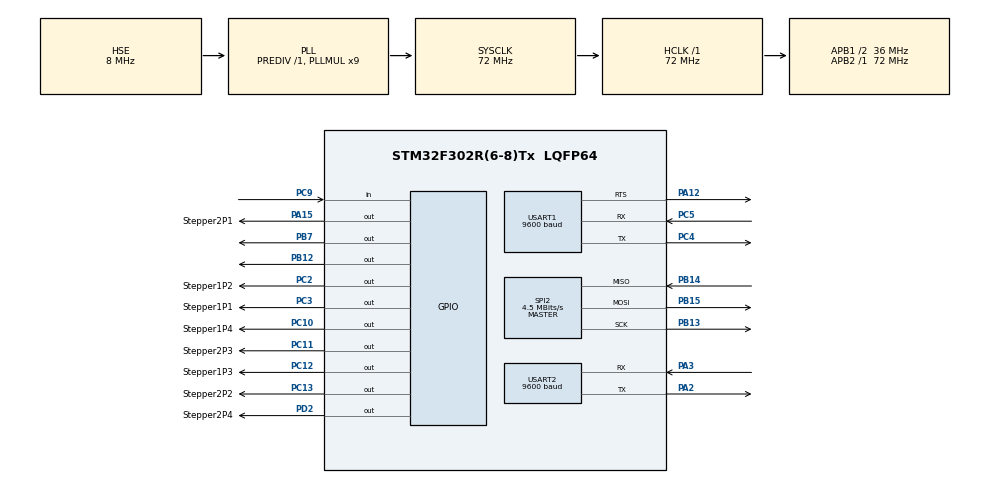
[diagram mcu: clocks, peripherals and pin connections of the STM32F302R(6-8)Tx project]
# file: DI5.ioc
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Mcu.Family=STM32F3
Mcu.Name=STM32F302R(6-8)Tx
Mcu.Package=LQFP64
NVIC.PriorityGroup=NVIC_PRIORITYGROUP_4
NVIC.TIM6_DAC_IRQn=true\:0\:0\:false\:false\:true\:true\:true
NVIC.USART1_IRQn=true\:0\:0\:false\:false\:true\:true\:true
PA12.Mode=RTS_Only
PA12.Signal=USART1_RTS
PA15.GPIO_Label=Stepper2P1
PA15.Signal=GPIO_Output
PA2.Mode=Asynchronous
PA2.Signal=USART2_TX
PA3.Mode=Asynchronous
PA3.Signal=USART2_RX
PB12.Signal=GPIO_Output
PB13.Mode=Full_Duplex_Master
PB13.Signal=SPI2_SCK
PB14.Mode=Full_Duplex_Master
PB14.Signal=SPI2_MISO
PB15.Mode=Full_Duplex_Master
PB15.Signal=SPI2_MOSI
PB7.Signal=GPIO_Output
PC10.GPIO_Label=Stepper1P4
PC10.Signal=GPIO_Output
PC11.GPIO_Label=Stepper2P3
PC11.Signal=GPIO_Output
PC12.GPIO_Label=Stepper1P3
PC12.Signal=GPIO_Output
PC13.GPIO_Label=Stepper2P2
PC13.Signal=GPIO_Output
PC2.GPIO_Label=Stepper1P2
PC2.Signal=GPIO_Output
PC3.GPIO_Label=Stepper1P1
PC3.Signal=GPIO_Output
PC4.Mode=Asynchronous
PC4.Signal=USART1_TX
PC5.Mode=Asynchronous
PC5.Signal=USART1_RX
PC9.Signal=GPIO_Input
PD2.GPIO_Label=Stepper2P4
PD2.Signal=GPIO_Output
PF0-OSC_IN.Mode=HSE-External-Oscillator
PF0-OSC_IN.Signal=RCC_OSC_IN
PF1-OSC_OUT.Mode=HSE-External-Oscillator
PF1-OSC_OUT.Signal=RCC_OSC_OUT
ProjectManager.HeapSize=0x200
ProjectManager.StackSize=0x400
ProjectManager.TargetToolchain=STM32CubeIDE
RCC.AHBFreq_Value=72000000
RCC.APB1CLKDivider=RCC_HCLK_DIV2
RCC.APB1Freq_Value=36000000
RCC.APB1TimFreq_Value=72000000
RCC.APB2Freq_Value=72000000
RCC.APB2TimFreq_Value=72000000
RCC.CortexFreq_Value=72000000
RCC.HCLKFreq_Value=72000000
RCC.HSE_VALUE=8000000
RCC.HSI_VALUE=8000000
RCC.LSE_VALUE=32768
RCC.PLLMUL=RCC_PLL_MUL9
RCC.PLLSourceVirtual=RCC_PLLSOURCE_HSE
RCC.SYSCLKFreq_VALUE=72000000
RCC.SYSCLKSourceVirtual=RCC_SYSCLKSOURCE_PLLCLK
RCC.USBFreq_Value=72000000
SPI2.BaudRatePrescaler=SPI_BAUDRATEPRESCALER_8
SPI2.CLKPhase=SPI_PHASE_2EDGE
SPI2.CLKPolarity=SPI_POLARITY_HIGH
SPI2.CalculateBaudRate=4.5 MBits/s
SPI2.DataSize=SPI_DATASIZE_8BIT
SPI2.Direction=SPI_DIRECTION_2LINES
SPI2.Mode=SPI_MODE_MASTER
SPI2.VirtualType=VM_MASTER
TIM6.Period=28124
TIM6.Prescaler=64
USART1.BaudRate=9600
USART1.VirtualMode-Asynchronous=VM_ASYNC
USART2.BaudRate=9600
USART2.VirtualMode-Asynchronous=VM_ASYNC
VP_TIM6_VS_ClockSourceINT.Mode=Enable_Timer
board=custom

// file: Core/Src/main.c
/* USER CODE BEGIN Header */
/**
  ******************************************************************************
  * @file           : main.c
  * @brief          : Main program body
  ******************************************************************************
  * @attention
  *
  * <h2><center>&copy; Copyright (c) 2021 STMicroelectronics.
  * All rights reserved.</center></h2>
  *
  * This software component is licensed by ST under BSD 3-Clause license,
  * the "License"; You may not use this file except in compliance with the
  * License. You may obtain a copy of the License at:
  *                        opensource.org/licenses/BSD-3-Clause
  *
  ******************************************************************************
  */
/* USER CODE END Header */
#include "main.h"

/* USER CODE BEGIN Includes */
#include <string.h>
#include <stdio.h>
#include <stdlib.h>

/* USER CODE END Includes */

/* USER CODE BEGIN PD */
char UART_RX_buffer[64] = {'\0'};
char UART_TX_buffer[64] = {'\0'};
/* USER CODE END PD */

SPI_HandleTypeDef hspi2;

TIM_HandleTypeDef htim6;

UART_HandleTypeDef huart1;
UART_HandleTypeDef huart2;

void SystemClock_Config(void);
static void MX_GPIO_Init(void);
static void MX_USART1_UART_Init(void);
static void MX_USART2_UART_Init(void);
static void MX_SPI2_Init(void);
static void MX_TIM6_Init(void);

/* USER CODE BEGIN 0 */
volatile uint8_t stepperAngleVertical = 0;
volatile uint8_t stepperAngleHorisontal = 0;
volatile int stepactiveHerisontal = 0;
volatile int stepactiveVertical = 0;
typedef enum {
	INIT,
	GO_RIGHT,
	GO_UP_RIGHT,
	GO_UP_LEFT,
	GO_LEFT,
	GO_LEFT_EDGE,
	GO_DOWN_EDGE
} States;
States currentstate = INIT;
States nextstate = INIT;

void debugPrintln(UART_HandleTypeDef *huart, char _out[])
{
  HAL_UART_Transmit(huart, (uint8_t *) _out, strlen(_out), 10000);
  char newline[2] = "\r\n";
  HAL_UART_Transmit(huart, (uint8_t *) newline, 2, 10);
}

void flashPrint()
{

}

void doDistanceMeasurement(uint8_t* tx_data, uint8_t* rx_data)
{
	tx_data[0] = 0x80;
	tx_data[1] = 0x01;
	tx_data[2] = 0x00;

	HAL_GPIO_WritePin(GPIOB, GPIO_PIN_12, GPIO_PIN_RESET);
	HAL_SPI_TransmitReceive(&hspi2, tx_data, rx_data, 3, 0xFFFFFFFF);
	HAL_GPIO_WritePin(GPIOB, GPIO_PIN_12, GPIO_PIN_SET);

	while(!HAL_GPIO_ReadPin(GPIOC, GPIO_PIN_9));
	tx_data[0] = 0x00;

	HAL_GPIO_WritePin(GPIOB, GPIO_PIN_12, GPIO_PIN_RESET);
	HAL_SPI_TransmitReceive(&hspi2, tx_data, rx_data, 1, 0xFFFFFFFF);
	HAL_GPIO_WritePin(GPIOB, GPIO_PIN_12, GPIO_PIN_SET);

	while(!HAL_GPIO_ReadPin(GPIOC, GPIO_PIN_9));
	tx_data[0] = 0xFF;
	tx_data[1] = 0xFF;
	tx_data[2] = 0xFF;

	HAL_GPIO_WritePin(GPIOB, GPIO_PIN_12, GPIO_PIN_RESET);
	HAL_SPI_TransmitReceive(&hspi2, tx_data, rx_data, 6, 0xFFFFFFFF);
	HAL_GPIO_WritePin(GPIOB, GPIO_PIN_12, GPIO_PIN_SET);

	uint32_t distanceWord = (rx_data[4] << 24) | (rx_data[3] << 16) | (rx_data[2] << 8) | (rx_data[1]);

	char line1 [500];
	sprintf(line1, "%f %d %d\n",(float)distanceWord/4194304, stepperAngleHorisontal, stepperAngleVertical);
	debugPrintln(&huart2, line1);

}

void stepStepper1()
{
	uint8_t stepperFullStep[4][4] = { {1,0,0,1},
								{1,1,0,0},
								{0,1,1,0},
								{0,0,1,1} };

	uint8_t stepperHalfStep[8][4] = {{1,0,0,0},
									{1,1,0,0},
									{0,1,0,0},
									{0,1,1,0},
									{0,0,1,0},
									{0,0,1,1},
									{0,0,0,1},
									{1,0,0,1}};
	static uint8_t stepperIndx = 0;

	if(currentstate == GO_UP_RIGHT || currentstate == GO_UP_LEFT)
	{
		if (stepperIndx == 3)
			stepperIndx = 0;
		else
			stepperIndx++;
	}
	else
	{
		if (stepperIndx == 0)
			stepperIndx = 3;
		else
			stepperIndx--;
	}
	HAL_GPIO_WritePin(Stepper1P1_GPIO_Port, Stepper1P1_Pin, stepperFullStep[stepperIndx][0]);
	HAL_GPIO_WritePin(Stepper1P2_GPIO_Port, Stepper1P2_Pin, stepperFullStep[stepperIndx][1]);
	HAL_GPIO_WritePin(Stepper1P3_GPIO_Port, Stepper1P3_Pin, stepperFullStep[stepperIndx][2]);
	HAL_GPIO_WritePin(Stepper1P4_GPIO_Port, Stepper1P4_Pin, stepperFullStep[stepperIndx][3]);

}

void stepStepper2()
{
	static uint8_t stepperIndx = 0;
	if(currentstate == GO_RIGHT)
	{
		if (stepperIndx == 8)
			stepperIndx = 0;
		else
			stepperIndx++;
	}
	else
	{
		if (stepperIndx == 0)
			stepperIndx = 8;
		else
			stepperIndx--;
	}
	uint8_t stepperFullStep[4][4] = { {1,0,0,1},
								{1,1,0,0},
								{0,1,1,0},
								{0,0,1,1} };

	uint8_t stepperHalfStep[8][4] = { {1,0,0,0},
									{1,1,0,0},
									{0,1,0,0},
									{0,1,1,0},
									{0,0,1,0},
									{0,0,1,1},
									{0,0,0,1},
									{1,0,0,1}};

	HAL_GPIO_WritePin(Stepper2P1_GPIO_Port, Stepper2P1_Pin, stepperHalfStep[stepperIndx][0]);
	HAL_GPIO_WritePin(Stepper2P2_GPIO_Port, Stepper2P2_Pin, stepperHalfStep[stepperIndx][1]);
	HAL_GPIO_WritePin(Stepper2P3_GPIO_Port, Stepper2P3_Pin, stepperHalfStep[stepperIndx][2]);
	HAL_GPIO_WritePin(Stepper2P4_GPIO_Port, Stepper2P4_Pin, stepperHalfStep[stepperIndx][3]);

}

void controlsteppers(){
	 currentstate = nextstate;
	 switch(currentstate)
	 {
	 	 case INIT:
	 		stepStepper1();
	 		nextstate = GO_RIGHT;
	 	 break;

	 	 case GO_RIGHT:
			   stepactiveHerisontal = 1;
			   stepperAngleHorisontal++;

			   if(stepperAngleHorisontal > 98){
				   if (stepperAngleVertical < 28)
					   nextstate = GO_UP_RIGHT;
				   else
					   nextstate = GO_LEFT_EDGE;
			   }

		 break;

	 	 case GO_UP_RIGHT:
	 		stepactiveVertical = 1;
	 		stepperAngleVertical++;
	 		nextstate = GO_LEFT;
	 	 break;

	 	 case GO_LEFT:

	 		stepactiveHerisontal = 1;
	 		stepperAngleHorisontal--;

	 		if(stepperAngleHorisontal == 0){
	 			nextstate = GO_UP_LEFT;
	 		}
	 	break;

	 	 case GO_UP_LEFT:
	 		stepactiveVertical = 1;
	 		stepperAngleVertical++;
	 		nextstate = GO_RIGHT;
	 	 break;

	 	 case GO_LEFT_EDGE:
			   stepactiveHerisontal = 1;
			   stepperAngleHorisontal--;
			  if(stepperAngleHorisontal == 0){
				  nextstate = GO_DOWN_EDGE;
			  }
		 break;

	 	 case GO_DOWN_EDGE:
		   stepactiveVertical = 1;
		   stepperAngleVertical--;
		   if(stepperAngleVertical == 0){
			   nextstate = GO_RIGHT;
		   }

	 }

	   HAL_TIM_Base_Start_IT(&htim6);
	   while(stepactiveHerisontal || stepactiveVertical)
	   {
	   }
	   HAL_TIM_Base_Stop_IT(&htim6);
}

/* USER CODE END 0 */

int main(void)
{

  /* MCU Configuration--------------------------------------------------------*/

  /* Reset of all peripherals, Initializes the Flash interface and the Systick. */

	HAL_Init();

  /* Configure the system clock */
  SystemClock_Config();

  /* Initialize all configured peripherals */
  MX_GPIO_Init();
  MX_USART1_UART_Init();
  MX_USART2_UART_Init();
  MX_SPI2_Init();
  MX_TIM6_Init();
  /* USER CODE BEGIN 2 */
  uint8_t tx_data[8];
  uint8_t rx_data[8];

  //UART Code
  #define RX_BUFFER_SIZE 60
#if 0
  // Commands for OpenLog

  char arr2[] = "new doc4.txt\r";
  char arr3[] = "append doc4.txt\r";
  char arr4[] = "Digital Intrumentation is my passion";
  char arr5[] = "read doc4.txt\r";
  char special = 26; // OpenLog special character

  /* USER CODE END 2 */

  /* Infinite loop */
  /* USER CODE BEGIN WHILE */

  // Setting up UART receive interrupt
  HAL_UART_Receive_IT(&huart1, UART_RX_buffer, RX_BUFFER_SIZE);

  // Entering OpenLog command mode
  for(int i = 0; i < 3; i++)
    HAL_UART_Transmit(&huart1, &special, sizeof(special), 10);

  // Delay for timing purpouses
  HAL_Delay(15);

// Creating new file "doc4.txt" and writing some text to it

  // HAL_UART_Transmit(&huart1, arr2, sizeof(arr2), 100);
  //  HAL_Delay(15);
  HAL_UART_Transmit(&huart1, arr3, sizeof(arr3), 100);
   HAL_Delay(15);
  HAL_UART_Transmit(&huart1, arr4, sizeof(arr4), 200);
   HAL_Delay(15);
  HAL_UART_Transmit(&huart1, &special, sizeof(special), 10);
#endif

// Reading the text file
#if 0
  HAL_UART_Transmit(&huart1, arr5, sizeof(arr5), 100);
#endif

  while (1)
  {
    #if 0
    HAL_Delay(10);
    /* USER CODE END WHILE */

    /* USER CODE BEGIN 3 */
    #endif

   doDistanceMeasurement(tx_data, rx_data);
   controlsteppers();
  }
  /* USER CODE END 3 */
}

void SystemClock_Config(void)
{
  RCC_OscInitTypeDef RCC_OscInitStruct = {0};
  RCC_ClkInitTypeDef RCC_ClkInitStruct = {0};
  RCC_PeriphCLKInitTypeDef PeriphClkInit = {0};

  /** Initializes the RCC Oscillators according to the specified parameters
  * in the RCC_OscInitTypeDef structure.
  */
  RCC_OscInitStruct.OscillatorType = RCC_OSCILLATORTYPE_HSE;
  RCC_OscInitStruct.HSEState = RCC_HSE_ON;
  RCC_OscInitStruct.HSEPredivValue = RCC_HSE_PREDIV_DIV1;
  RCC_OscInitStruct.HSIState = RCC_HSI_ON;
  RCC_OscInitStruct.PLL.PLLState = RCC_PLL_ON;
  RCC_OscInitStruct.PLL.PLLSource = RCC_PLLSOURCE_HSE;
  RCC_OscInitStruct.PLL.PLLMUL = RCC_PLL_MUL9;
  if (HAL_RCC_OscConfig(&RCC_OscInitStruct) != HAL_OK)
  {
    Error_Handler();
  }
  /** Initializes the CPU, AHB and APB buses clocks
  */
  RCC_ClkInitStruct.ClockType = RCC_CLOCKTYPE_HCLK|RCC_CLOCKTYPE_SYSCLK
                              |RCC_CLOCKTYPE_PCLK1|RCC_CLOCKTYPE_PCLK2;
  RCC_ClkInitStruct.SYSCLKSource = RCC_SYSCLKSOURCE_PLLCLK;
  RCC_ClkInitStruct.AHBCLKDivider = RCC_SYSCLK_DIV1;
  RCC_ClkInitStruct.APB1CLKDivider = RCC_HCLK_DIV2;
  RCC_ClkInitStruct.APB2CLKDivider = RCC_HCLK_DIV1;

  if (HAL_RCC_ClockConfig(&RCC_ClkInitStruct, FLASH_LATENCY_2) != HAL_OK)
  {
    Error_Handler();
  }
  PeriphClkInit.PeriphClockSelection = RCC_PERIPHCLK_USART1;
  PeriphClkInit.Usart1ClockSelection = RCC_USART1CLKSOURCE_PCLK1;
  if (HAL_RCCEx_PeriphCLKConfig(&PeriphClkInit) != HAL_OK)
  {
    Error_Handler();
  }
}

static void MX_SPI2_Init(void)
{

  /* SPI2 parameter configuration*/
  hspi2.Instance = SPI2;
  hspi2.Init.Mode = SPI_MODE_MASTER;
  hspi2.Init.Direction = SPI_DIRECTION_2LINES;
  hspi2.Init.DataSize = SPI_DATASIZE_8BIT;
  hspi2.Init.CLKPolarity = SPI_POLARITY_HIGH;
  hspi2.Init.CLKPhase = SPI_PHASE_2EDGE;
  hspi2.Init.NSS = SPI_NSS_SOFT;
  hspi2.Init.BaudRatePrescaler = SPI_BAUDRATEPRESCALER_8;
  hspi2.Init.FirstBit = SPI_FIRSTBIT_MSB;
  hspi2.Init.TIMode = SPI_TIMODE_DISABLE;
  hspi2.Init.CRCCalculation = SPI_CRCCALCULATION_DISABLE;
  hspi2.Init.CRCPolynomial = 7;
  hspi2.Init.CRCLength = SPI_CRC_LENGTH_DATASIZE;
  hspi2.Init.NSSPMode = SPI_NSS_PULSE_DISABLE;
  if (HAL_SPI_Init(&hspi2) != HAL_OK)
  {
    Error_Handler();
  }

}

static void MX_TIM6_Init(void)
{

  TIM_MasterConfigTypeDef sMasterConfig = {0};

  htim6.Instance = TIM6;
  htim6.Init.Prescaler = 64;
  htim6.Init.CounterMode = TIM_COUNTERMODE_UP;
  htim6.Init.Period = 28124;
  htim6.Init.AutoReloadPreload = TIM_AUTORELOAD_PRELOAD_DISABLE;
  if (HAL_TIM_Base_Init(&htim6) != HAL_OK)
  {
    Error_Handler();
  }
  sMasterConfig.MasterOutputTrigger = TIM_TRGO_RESET;
  sMasterConfig.MasterSlaveMode = TIM_MASTERSLAVEMODE_DISABLE;
  if (HAL_TIMEx_MasterConfigSynchronization(&htim6, &sMasterConfig) != HAL_OK)
  {
    Error_Handler();
  }

}

static void MX_USART1_UART_Init(void)
{

  huart1.Instance = USART1;
  huart1.Init.BaudRate = 9600;
  huart1.Init.WordLength = UART_WORDLENGTH_8B;
  huart1.Init.StopBits = UART_STOPBITS_1;
  huart1.Init.Parity = UART_PARITY_NONE;
  huart1.Init.Mode = UART_MODE_TX_RX;
  huart1.Init.HwFlowCtl = UART_HWCONTROL_RTS;
  huart1.Init.OverSampling = UART_OVERSAMPLING_16;
  huart1.Init.OneBitSampling = UART_ONE_BIT_SAMPLE_DISABLE;
  huart1.AdvancedInit.AdvFeatureInit = UART_ADVFEATURE_NO_INIT;
  if (HAL_UART_Init(&huart1) != HAL_OK)
  {
    Error_Handler();
  }

}

static void MX_USART2_UART_Init(void)
{

  huart2.Instance = USART2;
  huart2.Init.BaudRate = 9600;
  huart2.Init.WordLength = UART_WORDLENGTH_8B;
  huart2.Init.StopBits = UART_STOPBITS_1;
  huart2.Init.Parity = UART_PARITY_NONE;
  huart2.Init.Mode = UART_MODE_TX_RX;
  huart2.Init.HwFlowCtl = UART_HWCONTROL_NONE;
  huart2.Init.OverSampling = UART_OVERSAMPLING_16;
  huart2.Init.OneBitSampling = UART_ONE_BIT_SAMPLE_DISABLE;
  huart2.AdvancedInit.AdvFeatureInit = UART_ADVFEATURE_NO_INIT;
  if (HAL_UART_Init(&huart2) != HAL_OK)
  {
    Error_Handler();
  }

}

static void MX_GPIO_Init(void)
{
  GPIO_InitTypeDef GPIO_InitStruct = {0};

  /* GPIO Ports Clock Enable */
  __HAL_RCC_GPIOC_CLK_ENABLE();
  __HAL_RCC_GPIOF_CLK_ENABLE();
  __HAL_RCC_GPIOA_CLK_ENABLE();
  __HAL_RCC_GPIOB_CLK_ENABLE();
  __HAL_RCC_GPIOD_CLK_ENABLE();

  /*Configure GPIO pin Output Level */
  HAL_GPIO_WritePin(GPIOC, Stepper2P2_Pin|Stepper1P2_Pin|Stepper1P1_Pin|Stepper1P4_Pin
                          |Stepper2P3_Pin|Stepper1P3_Pin, GPIO_PIN_RESET);

  /*Configure GPIO pin Output Level */
  HAL_GPIO_WritePin(GPIOB, GPIO_PIN_12|GPIO_PIN_7, GPIO_PIN_RESET);

  /*Configure GPIO pin Output Level */
  HAL_GPIO_WritePin(Stepper2P1_GPIO_Port, Stepper2P1_Pin, GPIO_PIN_RESET);

  /*Configure GPIO pin Output Level */
  HAL_GPIO_WritePin(Stepper2P4_GPIO_Port, Stepper2P4_Pin, GPIO_PIN_RESET);

  /*Configure GPIO pins : Stepper2P2_Pin Stepper1P2_Pin Stepper1P1_Pin Stepper1P4_Pin
                           Stepper2P3_Pin Stepper1P3_Pin */
  GPIO_InitStruct.Pin = Stepper2P2_Pin|Stepper1P2_Pin|Stepper1P1_Pin|Stepper1P4_Pin
                          |Stepper2P3_Pin|Stepper1P3_Pin;
  GPIO_InitStruct.Mode = GPIO_MODE_OUTPUT_PP;
  GPIO_InitStruct.Pull = GPIO_NOPULL;
  GPIO_InitStruct.Speed = GPIO_SPEED_FREQ_LOW;
  HAL_GPIO_Init(GPIOC, &GPIO_InitStruct);

  /*Configure GPIO pins : PB12 PB7 */
  GPIO_InitStruct.Pin = GPIO_PIN_12|GPIO_PIN_7;
  GPIO_InitStruct.Mode = GPIO_MODE_OUTPUT_PP;
  GPIO_InitStruct.Pull = GPIO_NOPULL;
  GPIO_InitStruct.Speed = GPIO_SPEED_FREQ_LOW;
  HAL_GPIO_Init(GPIOB, &GPIO_InitStruct);

  /*Configure GPIO pin : PC9 */
  GPIO_InitStruct.Pin = GPIO_PIN_9;
  GPIO_InitStruct.Mode = GPIO_MODE_INPUT;
  GPIO_InitStruct.Pull = GPIO_NOPULL;
  HAL_GPIO_Init(GPIOC, &GPIO_InitStruct);

  /*Configure GPIO pin : Stepper2P1_Pin */
  GPIO_InitStruct.Pin = Stepper2P1_Pin;
  GPIO_InitStruct.Mode = GPIO_MODE_OUTPUT_PP;
  GPIO_InitStruct.Pull = GPIO_NOPULL;
  GPIO_InitStruct.Speed = GPIO_SPEED_FREQ_LOW;
  HAL_GPIO_Init(Stepper2P1_GPIO_Port, &GPIO_InitStruct);

  /*Configure GPIO pin : Stepper2P4_Pin */
  GPIO_InitStruct.Pin = Stepper2P4_Pin;
  GPIO_InitStruct.Mode = GPIO_MODE_OUTPUT_PP;
  GPIO_InitStruct.Pull = GPIO_NOPULL;
  GPIO_InitStruct.Speed = GPIO_SPEED_FREQ_LOW;
  HAL_GPIO_Init(Stepper2P4_GPIO_Port, &GPIO_InitStruct);

}

/* USER CODE BEGIN 4 */

void HAL_UART_RxCpltCallback(UART_HandleTypeDef *huart)
{
  HAL_UART_Transmit(&huart2, (uint8_t*)UART_RX_buffer, RX_BUFFER_SIZE, 100);
  HAL_UART_Receive_IT(&huart1, (uint8_t*)UART_RX_buffer, RX_BUFFER_SIZE);

}

void HAL_TIM_PeriodElapsedCallback(TIM_HandleTypeDef *htim)
{
	if (htim == &htim6){
		if(stepactiveHerisontal)
		{
			stepStepper2();
			stepactiveHerisontal = 0;
		}
		else if(stepactiveVertical){
			stepStepper1(); //Top stepper
			stepactiveVertical = 0;
		}
	}
}

/* USER CODE END 4 */

void Error_Handler(void)
{
  __disable_irq();
  while (1)
  {
  }
}

/************************ (C) COPYRIGHT STMicroelectronics *****END OF FILE****/
